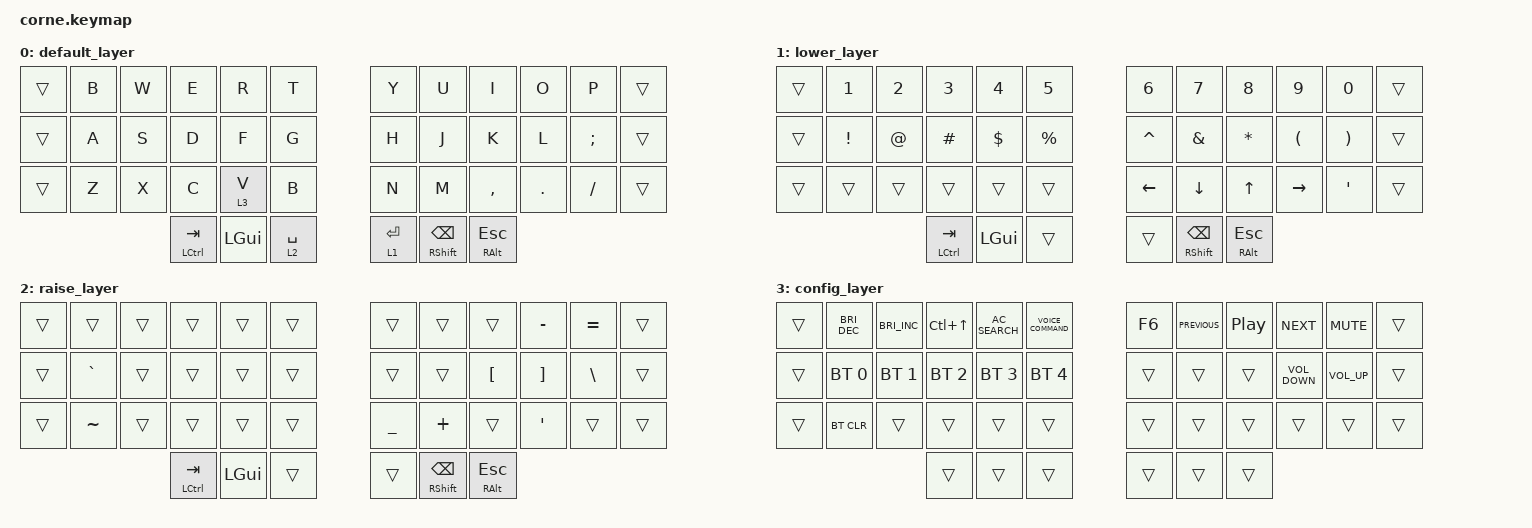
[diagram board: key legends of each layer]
/*
 * Copyright (c) 2020 The ZMK Contributors
 *
 * SPDX-License-Identifier: MIT
 */

#include <behaviors.dtsi>
#include <dt-bindings/zmk/bt.h>
#include <dt-bindings/zmk/keys.h>

/ {
    combos {
        compatible = "zmk,combos";

        combo_capslock {
            timeout-ms = <50>;

            // keys = <ZMK_KEY_LCTRL ZMK_KEY_LALT ZMK_KEY_C>;
            // action = <ZMK_MOD_LCTL ZMK_MOD_LALT ZMK_MOD_C>;
            // key-positions = <1 2>; // Q and W cuz index 0 is empty

            key-positions = <2 9>; // W and O
            bindings = <&kp CAPSLOCK>;
        };

        config_layer_combo {
            timeout-ms = <50>;
            key-positions = <36 37 38>; // S and J
            bindings = <&mo 3>; // momentary activation of layer
            //bindings = <&tog 3>; // layer "id", permanent activation
        };
    };

    keymap {
        compatible = "zmk,keymap";

        default_layer {
            // -----------------------------------------------------------------------------------------
            // |     |  Q  |  W  |  E  |  R  |  T  |        |  Y  |  U  |  I  |  O  |  P  |      |
            // |     |  A  |  S  |  D  |  F  |  G  |        |  H  |  J  |  K  |  L  |  ;: |      |
            // |     |  Z  |  X  |  C  |  V  |  B  |        |  N  |  M  |  ,< |  .> |  /? |      |
            //       | LCTRL/TAB | GUI | LWR/SPC |          | RSE/ENT | RSHFT/BSPC | RALT/ESC |
            //                  (command)                                            (option)

            bindings = <
&trans  &kp B  &kp W  &kp E          &kp R     &kp T          &kp Y      &kp U           &kp I         &kp O    &kp P     &trans
&trans  &kp A  &kp S  &kp D          &kp F     &kp G          &kp H      &kp J           &kp K         &kp L    &kp SEMI  &trans
&trans  &kp Z  &kp X  &kp C          &lt 3 V   &kp B          &kp N      &kp M           &kp COMMA     &kp DOT  &kp FSLH  &trans
                      &mt LCTRL TAB  &kp LGUI  &lt 2 SPACE    &lt 1 RET  &mt RSHFT BSPC  &mt RALT ESC
            >;
        };

        lower_layer {
            // -----------------------------------------------------------------------------------------
            // |     |  1  |  2  |  3  |  4  |  5  |        |  6  |  7  |  8  |  9  |  0  |      |
            // |     |  !  |  @  |  #  |  $  |  %  |        |  ^  |  &  |  *  |  (  |  )  |      |
            // |     |     |     |     |     |     |        |     |     |     |     | ' " |      |
            //       | LCTRL/TAB | GUI | LWR/SPC |                 | RSE/ENT | RSHFT/BSPC | RALT/ESC |
            //                  (command)                                            (option)

            bindings = <
&trans  &kp N1    &kp N2  &kp N3         &kp N4    &kp N5       &kp N6     &kp N7          &kp N8        &kp N9     &kp N0    &trans
&trans  &kp EXCL  &kp AT  &kp HASH       &kp DLLR  &kp PRCNT    &kp CARET  &kp AMPS        &kp ASTRK     &kp LPAR   &kp RPAR  &trans
&trans  &trans    &trans  &trans         &trans    &trans       &kp LEFT   &kp DOWN        &kp UP        &kp RIGHT  &kp SQT   &trans
                          &mt LCTRL TAB  &kp LGUI  &trans       &trans     &mt RSHFT BSPC  &mt RALT ESC
            >;
        };

        raise_layer {
            // -----------------------------------------------------------------------------------------
            // |     |     |     |     |     |     |        |     |     |     |  -_ |  =+ |      |
            // |     |  `  |     |     |     |     |        |     |     | [{  |  }] |  \| |      |
            // |     |  ~  |     |     |     |     |        |  _  |  +  |     | ' " |     |      |
            //       | LCTRL/TAB | GUI | LWR/SPC |          | RSE/ENT | RSHFT/BSPC | RALT/ESC |
            //                  (command)                                            (option)

            bindings = <
&trans  &trans     &trans  &trans         &trans    &trans    &trans     &trans          &trans        &kp MINUS  &kp EQUAL  &trans
&trans  &kp GRAVE  &trans  &trans         &trans    &trans    &trans     &trans          &kp LBKT      &kp RBKT   &kp BSLH   &trans
&trans  &kp TILDE  &trans  &trans         &trans    &trans    &kp UNDER  &kp PLUS        &trans        &kp SQT    &trans     &trans
                           &mt LCTRL TAB  &kp LGUI  &trans    &trans     &mt RSHFT BSPC  &mt RALT ESC
            >;
        };

        config_layer {
            // -------------------------------------------------------------------------------------------------------------------------
            // |     |          |          |          |          |          |                  |     |     |     |     |     |      |
            // |     | BT_SEL 0 | BT_SEL 1 | BT_SEL 2 | BT_SEL 3 | BT_SEL 4 |                  |     |     |     |     |     |      |
            // |     |  BT_CLR  |          |          |          |          |                  |     |     |     |     |     |      |
            //                             |          |          |          |                  |     |     |     |

            bindings = <
&trans  &kp C_BRIGHTNESS_DEC  &kp C_BRIGHTNESS_INC  &kp LC(UP)    &kp C_AC_SEARCH  &kp C_VOICE_COMMAND    &kp F6  &kp C_PREVIOUS  &kp C_PLAY_PAUSE  &kp C_NEXT         &kp C_MUTE       &trans
&trans  &bt BT_SEL 0          &bt BT_SEL 1          &bt BT_SEL 2  &bt BT_SEL 3     &bt BT_SEL 4           &trans  &trans          &trans            &kp C_VOLUME_DOWN  &kp C_VOLUME_UP  &trans
&trans  &bt BT_CLR            &trans                &trans        &trans           &trans                 &trans  &trans          &trans            &trans             &trans           &trans
                                                    &trans        &trans           &trans                 &trans  &trans          &trans
            >;
        };
    };
};
